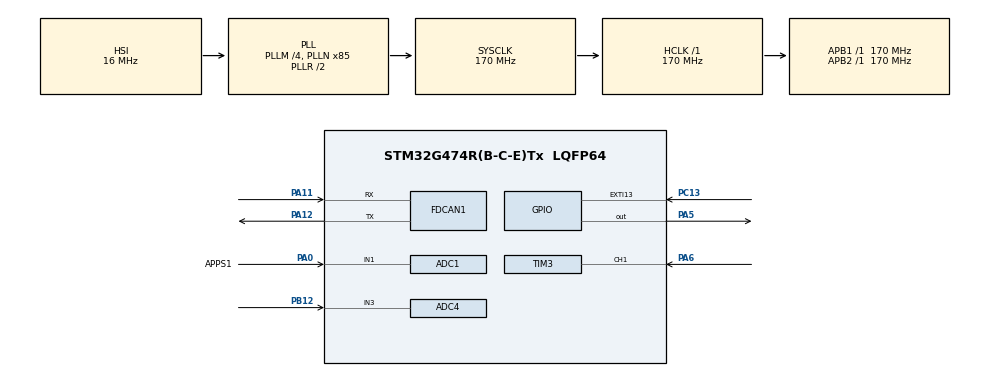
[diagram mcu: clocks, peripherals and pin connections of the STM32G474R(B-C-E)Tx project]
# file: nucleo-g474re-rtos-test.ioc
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ADC1.Channel-0\#ChannelRegularConversion=ADC_CHANNEL_1
ADC1.NbrOfConversionFlag=1
ADC1.OffsetNumber-0\#ChannelRegularConversion=ADC_OFFSET_NONE
ADC1.Rank-0\#ChannelRegularConversion=1
ADC1.SamplingTime-0\#ChannelRegularConversion=ADC_SAMPLETIME_2CYCLES_5
ADC1.master=1
ADC4.Channel-0\#ChannelRegularConversion=ADC_CHANNEL_3
ADC4.NbrOfConversionFlag=1
ADC4.OffsetNumber-0\#ChannelRegularConversion=ADC_OFFSET_NONE
ADC4.Rank-0\#ChannelRegularConversion=1
ADC4.SamplingTime-0\#ChannelRegularConversion=ADC_SAMPLETIME_2CYCLES_5
FDCAN1.AutoRetransmission=ENABLE
FDCAN1.CalculateBaudRateNominal=500000
FDCAN1.CalculateTimeBitNominal=2000
FDCAN1.CalculateTimeQuantumNominal=83.33333333333333
FDCAN1.DataPrescaler=2
FDCAN1.DataSyncJumpWidth=8
FDCAN1.DataTimeSeg1=15
FDCAN1.DataTimeSeg2=8
FDCAN1.NominalPrescaler=2
FDCAN1.NominalSyncJumpWidth=8
FDCAN1.NominalTimeSeg1=15
FDCAN1.NominalTimeSeg2=8
FREERTOS.Tasks01=defaultTask,24,128,StartDefaultTask,Default,NULL,Static,defaultTaskBuffer,defaultTaskControlBlock;ReadAPPS,40,128,StartReadAPPS,Default,NULL,Static,ReadAPPSBuffer,ReadAPPSControlBlock;ReadWSS,24,128,StartReadWSS,Default,NULL,Static,ReadWSSBuffer,ReadWSSControlBlock;ReadCAN,24,128,StartReadCAN,Default,NULL,Static,ReadCANBuffer,ReadCANControlBlock;ReadCOM,8,128,StartReadCOM,Default,NULL,Static,ReadCOMBuffer,ReadCOMControlBlock;WriteCOM,8,128,StartWriteCOM,Default,NULL,Static,WriteCOMBuffer,WriteCOMControlBlock
FREERTOS.configUSE_NEWLIB_REENTRANT=1
Mcu.Family=STM32G4
Mcu.Name=STM32G474R(B-C-E)Tx
Mcu.Package=LQFP64
NUCLEO-G474RE.BUTTON=1
NUCLEO-G474RE.LD2=true
NUCLEO-G474RE.VCP=true
NVIC.EXTI15_10_IRQn=true\:5\:0\:false\:false\:true\:true\:true\:true\:true
NVIC.FDCAN1_IT0_IRQn=true\:5\:0\:false\:false\:true\:true\:true\:true\:true
NVIC.PriorityGroup=NVIC_PRIORITYGROUP_4
NVIC.TIM3_IRQn=true\:5\:0\:false\:false\:true\:true\:true\:true\:true
NVIC.TIM6_DAC_IRQn=true\:15\:0\:false\:false\:true\:false\:false\:true\:true
NVIC.TimeBase=TIM6_DAC_IRQn
NVIC.TimeBaseIP=TIM6
PA0.GPIO_Label=APPS1
PA0.GPIO_Pd=GPIO_PULLDOWN
PA0.Mode=IN1-Single-Ended
PA0.Signal=ADC1_IN1
PA11.GPIO_PuPd=GPIO_PULLUP
PA11.GPIO_Speed=GPIO_SPEED_FREQ_VERY_HIGH
PA11.Mode=FDCAN_Activate
PA11.Signal=FDCAN1_RX
PA12.GPIO_Speed=GPIO_SPEED_FREQ_VERY_HIGH
PA12.Mode=FDCAN_Activate
PA12.Signal=FDCAN1_TX
PA13.GPIO_Label=T_SWDIO
PA13.Mode=Trace_Asynchronous_SW
PA13.Signal=SYS_JTMS-SWDIO
PA14.GPIO_Label=T_SWCLK
PA14.Mode=Trace_Asynchronous_SW
PA14.Signal=SYS_JTCK-SWCLK
PA2.Signal=LPUART1_TX
PA3.Signal=LPUART1_RX
PA5.Signal=GPIO_Output
PA6.Signal=S_TIM3_CH1
PB12.Mode=IN3-Single-Ended
PB12.Signal=ADC4_IN3
PB3.GPIO_Label=T_SWO
PB3.Mode=Trace_Asynchronous_SW
PB3.Signal=SYS_JTDO-SWO
PC13.Signal=GPXTI13
PC14-OSC32_IN.GPIO_Label=RCC_OSC32_IN
PC14-OSC32_IN.Signal=RCC_OSC32_IN
PC15-OSC32_OUT.GPIO_Label=RCC_OSC32_OUT
PC15-OSC32_OUT.Signal=RCC_OSC32_OUT
PF0-OSC_IN.GPIO_Label=RCC_OSC_IN
PF0-OSC_IN.Mode=HSE-External-Oscillator
PF0-OSC_IN.Signal=RCC_OSC_IN
PF1-OSC_OUT.GPIO_Label=RCC_OSC_OUT
PF1-OSC_OUT.Mode=HSE-External-Oscillator
PF1-OSC_OUT.Signal=RCC_OSC_OUT
ProjectManager.HeapSize=0x200
ProjectManager.StackSize=0x400
ProjectManager.TargetToolchain=STM32CubeIDE
RCC.ADC12Freq_Value=170000000
RCC.ADC345Freq_Value=170000000
RCC.AHBFreq_Value=170000000
RCC.APB1Freq_Value=170000000
RCC.APB1TimFreq_Value=170000000
RCC.APB2Freq_Value=170000000
RCC.APB2TimFreq_Value=170000000
RCC.CortexFreq_Value=170000000
RCC.EXTERNAL_CLOCK_VALUE=12288000
RCC.FDCANCLockSelection=RCC_FDCANCLKSOURCE_HSE
RCC.HCLKFreq_Value=170000000
RCC.HSE_VALUE=24000000
RCC.HSI48_VALUE=48000000
RCC.HSI_VALUE=16000000
RCC.LSE_VALUE=32768
RCC.PLLM=RCC_PLLM_DIV4
RCC.PLLN=85
RCC.RTCClockSelection=RCC_RTCCLKSOURCE_LSE
RCC.SYSCLKFreq_VALUE=170000000
RCC.SYSCLKSource=RCC_SYSCLKSOURCE_PLLCLK
RCC.USBFreq_Value=170000000
RCC.VCOOutputFreq_Value=340000000
SH.S_TIM3_CH1.0=TIM3_CH1,Input_Capture1_from_TI1
TIM3.Channel-Input_Capture1_from_TI1=TIM_CHANNEL_1
TIM3.ICFilter_CH1=15
TIM3.Prescaler=17
VP_FREERTOS_VS_CMSIS_V2.Mode=CMSIS_V2
VP_NUCLEO-G474RE_VS_BSP_COMMON.Mode=COMMON
VP_SYS_VS_DBSignals.Mode=DisableDeadBatterySignals
VP_SYS_VS_tim6.Mode=TIM6
board=NUCLEO-G474RE

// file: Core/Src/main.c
/* USER CODE BEGIN Header */
/**
 ******************************************************************************
 * @file           : main.c
 * @brief          : Main program body
 ******************************************************************************
 * @attention
 *
 * Copyright (c) 2025 STMicroelectronics.
 * All rights reserved.
 *
 * This software is licensed under terms that can be found in the LICENSE file
 * in the root directory of this software component.
 * If no LICENSE file comes with this software, it is provided AS-IS.
 *
 ******************************************************************************
 */
/* USER CODE END Header */
#include "main.h"
#include "cmsis_os.h"

/* USER CODE BEGIN Includes */
#include <inttypes.h>
#include <string.h>
/* USER CODE END Includes */

typedef StaticTask_t osStaticThreadDef_t;

COM_InitTypeDef BspCOMInit;
ADC_HandleTypeDef hadc1;
ADC_HandleTypeDef hadc4;

FDCAN_HandleTypeDef hfdcan1;

TIM_HandleTypeDef htim3;

/* Definitions for defaultTask */
osThreadId_t defaultTaskHandle;
uint32_t defaultTaskBuffer[ 128 ];
osStaticThreadDef_t defaultTaskControlBlock;
const osThreadAttr_t defaultTask_attributes = {
  .name = "defaultTask",
  .stack_mem = &defaultTaskBuffer[0],
  .stack_size = sizeof(defaultTaskBuffer),
  .cb_mem = &defaultTaskControlBlock,
  .cb_size = sizeof(defaultTaskControlBlock),
  .priority = (osPriority_t) osPriorityNormal,
};
/* Definitions for ReadAPPS */
osThreadId_t ReadAPPSHandle;
uint32_t ReadAPPSBuffer[ 128 ];
osStaticThreadDef_t ReadAPPSControlBlock;
const osThreadAttr_t ReadAPPS_attributes = {
  .name = "ReadAPPS",
  .stack_mem = &ReadAPPSBuffer[0],
  .stack_size = sizeof(ReadAPPSBuffer),
  .cb_mem = &ReadAPPSControlBlock,
  .cb_size = sizeof(ReadAPPSControlBlock),
  .priority = (osPriority_t) osPriorityHigh,
};
/* Definitions for ReadWSS */
osThreadId_t ReadWSSHandle;
uint32_t ReadWSSBuffer[ 128 ];
osStaticThreadDef_t ReadWSSControlBlock;
const osThreadAttr_t ReadWSS_attributes = {
  .name = "ReadWSS",
  .stack_mem = &ReadWSSBuffer[0],
  .stack_size = sizeof(ReadWSSBuffer),
  .cb_mem = &ReadWSSControlBlock,
  .cb_size = sizeof(ReadWSSControlBlock),
  .priority = (osPriority_t) osPriorityNormal,
};
/* Definitions for ReadCAN */
osThreadId_t ReadCANHandle;
uint32_t ReadCANBuffer[ 128 ];
osStaticThreadDef_t ReadCANControlBlock;
const osThreadAttr_t ReadCAN_attributes = {
  .name = "ReadCAN",
  .stack_mem = &ReadCANBuffer[0],
  .stack_size = sizeof(ReadCANBuffer),
  .cb_mem = &ReadCANControlBlock,
  .cb_size = sizeof(ReadCANControlBlock),
  .priority = (osPriority_t) osPriorityNormal,
};
/* Definitions for ReadCOM */
osThreadId_t ReadCOMHandle;
uint32_t ReadCOMBuffer[ 128 ];
osStaticThreadDef_t ReadCOMControlBlock;
const osThreadAttr_t ReadCOM_attributes = {
  .name = "ReadCOM",
  .stack_mem = &ReadCOMBuffer[0],
  .stack_size = sizeof(ReadCOMBuffer),
  .cb_mem = &ReadCOMControlBlock,
  .cb_size = sizeof(ReadCOMControlBlock),
  .priority = (osPriority_t) osPriorityLow,
};
/* Definitions for WriteCOM */
osThreadId_t WriteCOMHandle;
uint32_t WriteCOMBuffer[ 128 ];
osStaticThreadDef_t WriteCOMControlBlock;
const osThreadAttr_t WriteCOM_attributes = {
  .name = "WriteCOM",
  .stack_mem = &WriteCOMBuffer[0],
  .stack_size = sizeof(WriteCOMBuffer),
  .cb_mem = &WriteCOMControlBlock,
  .cb_size = sizeof(WriteCOMControlBlock),
  .priority = (osPriority_t) osPriorityLow,
};
/* USER CODE BEGIN PV */
__IO uint32_t BspButtonState = BUTTON_RELEASED;
uint32_t printCANData = 0;
uint32_t printSASAngle = 0;
/* USER CODE END PV */

void SystemClock_Config(void);
static void MX_GPIO_Init(void);
static void MX_ADC1_Init(void);
static void MX_ADC4_Init(void);
static void MX_FDCAN1_Init(void);
static void MX_TIM3_Init(void);
void StartDefaultTask(void *argument);
void StartReadAPPS(void *argument);
void StartReadWSS(void *argument);
void StartReadCAN(void *argument);
void StartReadCOM(void *argument);
void StartWriteCOM(void *argument);

/* USER CODE BEGIN 0 */

FDCAN_RxHeaderTypeDef   RxHeader;
uint8_t               	RxData[8];
int16_t					steeringAngle;

// FDCAN2 Callback
void HAL_FDCAN_RxFifo0Callback(FDCAN_HandleTypeDef *hfdcan, uint32_t RxFifo0ITs)
{
	if ((RxFifo0ITs & FDCAN_IT_RX_FIFO0_NEW_MESSAGE) != RESET) {
		/* Retreive Rx messages from RX FIFO0 */
		if (HAL_FDCAN_GetRxMessage(hfdcan, FDCAN_RX_FIFO0, &RxHeader, RxData) != HAL_OK) {
			Error_Handler();
		}
		if (HAL_FDCAN_ActivateNotification(hfdcan, FDCAN_IT_RX_FIFO0_NEW_MESSAGE, 0) != HAL_OK) {
			Error_Handler();
		}
		if (printCANData) {
			printf("CAN ID: %" PRIu32 ", Data: ", RxHeader.Identifier);
			for (int i = 0; i < 12; i++) {
				printf("%02x ", RxData[i]);
			}
			printf("\n");
		}
		if (printSASAngle) {
			steeringAngle = ((uint16_t) RxData[1] << 8) | (uint16_t) RxData[0];
			printf("HI:8191,LO:-8191,SAS:%d\n", steeringAngle);
		}
	}
}

/* USER CODE END 0 */

int main(void)
{

  /* MCU Configuration--------------------------------------------------------*/

  /* Reset of all peripherals, Initializes the Flash interface and the Systick. */
  HAL_Init();

  /* Configure the system clock */
  SystemClock_Config();

  /* Initialize all configured peripherals */
  MX_GPIO_Init();
  MX_ADC1_Init();
  MX_ADC4_Init();
  MX_FDCAN1_Init();
  MX_TIM3_Init();
  /* USER CODE BEGIN 2 */
	// Start FDCAN1
	if (HAL_FDCAN_Start(&hfdcan1) != HAL_OK) {
		Error_Handler();
	}
	// Activate the notification for new data in FIFO0 for FDCAN1
	if (HAL_FDCAN_ActivateNotification(&hfdcan1, FDCAN_IT_RX_FIFO0_NEW_MESSAGE, 0) != HAL_OK) {
		Error_Handler();
	}

	// Start TIM2 Input Capture in interrupt mode for WSS1
	HAL_TIM_IC_Start_IT(&htim3, TIM_CHANNEL_1);
  /* USER CODE END 2 */

  /* Init scheduler */
  osKernelInitialize();

  /* Create the thread(s) */
  /* creation of defaultTask */
  defaultTaskHandle = osThreadNew(StartDefaultTask, NULL, &defaultTask_attributes);

  /* creation of ReadAPPS */
  ReadAPPSHandle = osThreadNew(StartReadAPPS, NULL, &ReadAPPS_attributes);

  /* creation of ReadWSS */
  ReadWSSHandle = osThreadNew(StartReadWSS, NULL, &ReadWSS_attributes);

  /* creation of ReadCAN */
  ReadCANHandle = osThreadNew(StartReadCAN, NULL, &ReadCAN_attributes);

  /* creation of ReadCOM */
  ReadCOMHandle = osThreadNew(StartReadCOM, NULL, &ReadCOM_attributes);

  /* creation of WriteCOM */
  WriteCOMHandle = osThreadNew(StartWriteCOM, NULL, &WriteCOM_attributes);

  /* Initialize led */
  BSP_LED_Init(LED_GREEN);

  /* Initialize USER push-button, will be used to trigger an interrupt each time it's pressed.*/
  BSP_PB_Init(BUTTON_USER, BUTTON_MODE_EXTI);

  /* Initialize COM1 port (115200, 8 bits (7-bit data + 1 stop bit), no parity */
  BspCOMInit.BaudRate   = 115200;
  BspCOMInit.WordLength = COM_WORDLENGTH_8B;
  BspCOMInit.StopBits   = COM_STOPBITS_1;
  BspCOMInit.Parity     = COM_PARITY_NONE;
  BspCOMInit.HwFlowCtl  = COM_HWCONTROL_NONE;
  if (BSP_COM_Init(COM1, &BspCOMInit) != BSP_ERROR_NONE)
  {
    Error_Handler();
  }

  /* Start scheduler */
  osKernelStart();

  /* We should never get here as control is now taken by the scheduler */

  /* Infinite loop */
	while (1)
	{

	}
}

void SystemClock_Config(void)
{
  RCC_OscInitTypeDef RCC_OscInitStruct = {0};
  RCC_ClkInitTypeDef RCC_ClkInitStruct = {0};

  /** Configure the main internal regulator output voltage
  */
  HAL_PWREx_ControlVoltageScaling(PWR_REGULATOR_VOLTAGE_SCALE1_BOOST);

  /** Initializes the RCC Oscillators according to the specified parameters
  * in the RCC_OscInitTypeDef structure.
  */
  RCC_OscInitStruct.OscillatorType = RCC_OSCILLATORTYPE_HSI|RCC_OSCILLATORTYPE_HSE;
  RCC_OscInitStruct.HSEState = RCC_HSE_ON;
  RCC_OscInitStruct.HSIState = RCC_HSI_ON;
  RCC_OscInitStruct.HSICalibrationValue = RCC_HSICALIBRATION_DEFAULT;
  RCC_OscInitStruct.PLL.PLLState = RCC_PLL_ON;
  RCC_OscInitStruct.PLL.PLLSource = RCC_PLLSOURCE_HSI;
  RCC_OscInitStruct.PLL.PLLM = RCC_PLLM_DIV4;
  RCC_OscInitStruct.PLL.PLLN = 85;
  RCC_OscInitStruct.PLL.PLLP = RCC_PLLP_DIV2;
  RCC_OscInitStruct.PLL.PLLQ = RCC_PLLQ_DIV2;
  RCC_OscInitStruct.PLL.PLLR = RCC_PLLR_DIV2;
  if (HAL_RCC_OscConfig(&RCC_OscInitStruct) != HAL_OK)
  {
    Error_Handler();
  }

  /** Initializes the CPU, AHB and APB buses clocks
  */
  RCC_ClkInitStruct.ClockType = RCC_CLOCKTYPE_HCLK|RCC_CLOCKTYPE_SYSCLK
                              |RCC_CLOCKTYPE_PCLK1|RCC_CLOCKTYPE_PCLK2;
  RCC_ClkInitStruct.SYSCLKSource = RCC_SYSCLKSOURCE_PLLCLK;
  RCC_ClkInitStruct.AHBCLKDivider = RCC_SYSCLK_DIV1;
  RCC_ClkInitStruct.APB1CLKDivider = RCC_HCLK_DIV1;
  RCC_ClkInitStruct.APB2CLKDivider = RCC_HCLK_DIV1;

  if (HAL_RCC_ClockConfig(&RCC_ClkInitStruct, FLASH_LATENCY_4) != HAL_OK)
  {
    Error_Handler();
  }
}

static void MX_ADC1_Init(void)
{

  ADC_MultiModeTypeDef multimode = {0};
  ADC_ChannelConfTypeDef sConfig = {0};

  /** Common config
  */
  hadc1.Instance = ADC1;
  hadc1.Init.ClockPrescaler = ADC_CLOCK_SYNC_PCLK_DIV4;
  hadc1.Init.Resolution = ADC_RESOLUTION_12B;
  hadc1.Init.DataAlign = ADC_DATAALIGN_RIGHT;
  hadc1.Init.GainCompensation = 0;
  hadc1.Init.ScanConvMode = ADC_SCAN_DISABLE;
  hadc1.Init.EOCSelection = ADC_EOC_SINGLE_CONV;
  hadc1.Init.LowPowerAutoWait = DISABLE;
  hadc1.Init.ContinuousConvMode = DISABLE;
  hadc1.Init.NbrOfConversion = 1;
  hadc1.Init.DiscontinuousConvMode = DISABLE;
  hadc1.Init.ExternalTrigConv = ADC_SOFTWARE_START;
  hadc1.Init.ExternalTrigConvEdge = ADC_EXTERNALTRIGCONVEDGE_NONE;
  hadc1.Init.DMAContinuousRequests = DISABLE;
  hadc1.Init.Overrun = ADC_OVR_DATA_PRESERVED;
  hadc1.Init.OversamplingMode = DISABLE;
  if (HAL_ADC_Init(&hadc1) != HAL_OK)
  {
    Error_Handler();
  }

  /** Configure the ADC multi-mode
  */
  multimode.Mode = ADC_MODE_INDEPENDENT;
  if (HAL_ADCEx_MultiModeConfigChannel(&hadc1, &multimode) != HAL_OK)
  {
    Error_Handler();
  }

  /** Configure Regular Channel
  */
  sConfig.Channel = ADC_CHANNEL_1;
  sConfig.Rank = ADC_REGULAR_RANK_1;
  sConfig.SamplingTime = ADC_SAMPLETIME_2CYCLES_5;
  sConfig.SingleDiff = ADC_SINGLE_ENDED;
  sConfig.OffsetNumber = ADC_OFFSET_NONE;
  sConfig.Offset = 0;
  if (HAL_ADC_ConfigChannel(&hadc1, &sConfig) != HAL_OK)
  {
    Error_Handler();
  }

}

static void MX_ADC4_Init(void)
{

  ADC_ChannelConfTypeDef sConfig = {0};

  /** Common config
  */
  hadc4.Instance = ADC4;
  hadc4.Init.ClockPrescaler = ADC_CLOCK_SYNC_PCLK_DIV4;
  hadc4.Init.Resolution = ADC_RESOLUTION_12B;
  hadc4.Init.DataAlign = ADC_DATAALIGN_RIGHT;
  hadc4.Init.GainCompensation = 0;
  hadc4.Init.ScanConvMode = ADC_SCAN_DISABLE;
  hadc4.Init.EOCSelection = ADC_EOC_SINGLE_CONV;
  hadc4.Init.LowPowerAutoWait = DISABLE;
  hadc4.Init.ContinuousConvMode = DISABLE;
  hadc4.Init.NbrOfConversion = 1;
  hadc4.Init.DiscontinuousConvMode = DISABLE;
  hadc4.Init.ExternalTrigConv = ADC_SOFTWARE_START;
  hadc4.Init.ExternalTrigConvEdge = ADC_EXTERNALTRIGCONVEDGE_NONE;
  hadc4.Init.DMAContinuousRequests = DISABLE;
  hadc4.Init.Overrun = ADC_OVR_DATA_PRESERVED;
  hadc4.Init.OversamplingMode = DISABLE;
  if (HAL_ADC_Init(&hadc4) != HAL_OK)
  {
    Error_Handler();
  }

  /** Configure Regular Channel
  */
  sConfig.Channel = ADC_CHANNEL_3;
  sConfig.Rank = ADC_REGULAR_RANK_1;
  sConfig.SamplingTime = ADC_SAMPLETIME_2CYCLES_5;
  sConfig.SingleDiff = ADC_SINGLE_ENDED;
  sConfig.OffsetNumber = ADC_OFFSET_NONE;
  sConfig.Offset = 0;
  if (HAL_ADC_ConfigChannel(&hadc4, &sConfig) != HAL_OK)
  {
    Error_Handler();
  }

}

static void MX_FDCAN1_Init(void)
{

  hfdcan1.Instance = FDCAN1;
  hfdcan1.Init.ClockDivider = FDCAN_CLOCK_DIV1;
  hfdcan1.Init.FrameFormat = FDCAN_FRAME_CLASSIC;
  hfdcan1.Init.Mode = FDCAN_MODE_NORMAL;
  hfdcan1.Init.AutoRetransmission = ENABLE;
  hfdcan1.Init.TransmitPause = DISABLE;
  hfdcan1.Init.ProtocolException = DISABLE;
  hfdcan1.Init.NominalPrescaler = 2;
  hfdcan1.Init.NominalSyncJumpWidth = 8;
  hfdcan1.Init.NominalTimeSeg1 = 15;
  hfdcan1.Init.NominalTimeSeg2 = 8;
  hfdcan1.Init.DataPrescaler = 2;
  hfdcan1.Init.DataSyncJumpWidth = 8;
  hfdcan1.Init.DataTimeSeg1 = 15;
  hfdcan1.Init.DataTimeSeg2 = 8;
  hfdcan1.Init.StdFiltersNbr = 0;
  hfdcan1.Init.ExtFiltersNbr = 0;
  hfdcan1.Init.TxFifoQueueMode = FDCAN_TX_FIFO_OPERATION;
  if (HAL_FDCAN_Init(&hfdcan1) != HAL_OK)
  {
    Error_Handler();
  }

}

static void MX_TIM3_Init(void)
{

  TIM_MasterConfigTypeDef sMasterConfig = {0};
  TIM_IC_InitTypeDef sConfigIC = {0};

  htim3.Instance = TIM3;
  htim3.Init.Prescaler = 17;
  htim3.Init.CounterMode = TIM_COUNTERMODE_UP;
  htim3.Init.Period = 65535;
  htim3.Init.ClockDivision = TIM_CLOCKDIVISION_DIV1;
  htim3.Init.AutoReloadPreload = TIM_AUTORELOAD_PRELOAD_DISABLE;
  if (HAL_TIM_IC_Init(&htim3) != HAL_OK)
  {
    Error_Handler();
  }
  sMasterConfig.MasterOutputTrigger = TIM_TRGO_RESET;
  sMasterConfig.MasterSlaveMode = TIM_MASTERSLAVEMODE_DISABLE;
  if (HAL_TIMEx_MasterConfigSynchronization(&htim3, &sMasterConfig) != HAL_OK)
  {
    Error_Handler();
  }
  sConfigIC.ICPolarity = TIM_INPUTCHANNELPOLARITY_RISING;
  sConfigIC.ICSelection = TIM_ICSELECTION_DIRECTTI;
  sConfigIC.ICPrescaler = TIM_ICPSC_DIV1;
  sConfigIC.ICFilter = 15;
  if (HAL_TIM_IC_ConfigChannel(&htim3, &sConfigIC, TIM_CHANNEL_1) != HAL_OK)
  {
    Error_Handler();
  }

}

static void MX_GPIO_Init(void)
{

  /* GPIO Ports Clock Enable */
  __HAL_RCC_GPIOC_CLK_ENABLE();
  __HAL_RCC_GPIOF_CLK_ENABLE();
  __HAL_RCC_GPIOA_CLK_ENABLE();
  __HAL_RCC_GPIOB_CLK_ENABLE();

}

/* USER CODE BEGIN 4 */
FDCAN_TxHeaderTypeDef	TxHeader;
uint8_t 				TxData[2];

void ResetSASCalibration()
{
	TxHeader.Identifier = 0x7C0;		// LWS_Config
	TxHeader.IdType = FDCAN_STANDARD_ID;
	TxHeader.TxFrameType = FDCAN_DATA_FRAME;
	TxHeader.DataLength = FDCAN_DLC_BYTES_2;
	TxHeader.ErrorStateIndicator = FDCAN_ESI_ACTIVE;
	TxHeader.BitRateSwitch = FDCAN_BRS_OFF;
	TxHeader.FDFormat = FDCAN_CLASSIC_CAN;
	TxHeader.TxEventFifoControl = FDCAN_NO_TX_EVENTS;
	TxHeader.MessageMarker = 0;

	TxData[0] = 0x05;		// Command: Reset calibration
	TxData[1] = 0x00;
	if (HAL_FDCAN_AddMessageToTxFifoQ(&hfdcan1, &TxHeader, TxData) != HAL_OK) {
		Error_Handler();
	}
}

void ResetSASAngle()
{
	TxHeader.Identifier = 0x7C0;		// LWS_Config
	TxHeader.IdType = FDCAN_STANDARD_ID;
	TxHeader.TxFrameType = FDCAN_DATA_FRAME;
	TxHeader.DataLength = FDCAN_DLC_BYTES_2;
	TxHeader.ErrorStateIndicator = FDCAN_ESI_ACTIVE;
	TxHeader.BitRateSwitch = FDCAN_BRS_OFF;
	TxHeader.FDFormat = FDCAN_CLASSIC_CAN;
	TxHeader.TxEventFifoControl = FDCAN_NO_TX_EVENTS;
	TxHeader.MessageMarker = 0;

	TxData[0] = 0x03;		// Command: Set LWS_Angle = 0
	TxData[1] = 0x00;
	if (HAL_FDCAN_AddMessageToTxFifoQ(&hfdcan1, &TxHeader, TxData) != HAL_OK) {
		Error_Handler();
	}
}

void BSP_PB_Callback(Button_TypeDef Button)
{
	if (Button == BUTTON_USER) {
		if (BspButtonState == BUTTON_RELEASED) {
			printf("Attempting to reset SAS...\n");
			BSP_LED_Toggle(LED_GREEN);
			// Configure TX Header for FDCAN1 BOSCH LWS_Config
			TxHeader.Identifier = 0x7C0;		// LWS_Config
			TxHeader.IdType = FDCAN_STANDARD_ID;
			TxHeader.TxFrameType = FDCAN_DATA_FRAME;
			TxHeader.DataLength = FDCAN_DLC_BYTES_2;
			TxHeader.ErrorStateIndicator = FDCAN_ESI_ACTIVE;
			TxHeader.BitRateSwitch = FDCAN_BRS_OFF;
			TxHeader.FDFormat = FDCAN_CLASSIC_CAN;
			TxHeader.TxEventFifoControl = FDCAN_NO_TX_EVENTS;
			TxHeader.MessageMarker = 0;

			TxData[0] = 0x05;		// Command: Reset calibration
			TxData[1] = 0x00;
			if (HAL_FDCAN_AddMessageToTxFifoQ(&hfdcan1, &TxHeader, TxData) != HAL_OK) {
				Error_Handler();
			}

			TxData[0] = 0x03;		// Command: Set LWS_Angle = 0
			TxData[1] = 0x00;
			if (HAL_FDCAN_AddMessageToTxFifoQ(&hfdcan1, &TxHeader, TxData) != HAL_OK) {
				Error_Handler();
			}

			BspButtonState = BUTTON_PRESSED;
		} else {
			BspButtonState = BUTTON_RELEASED;
		}
	}
}
volatile uint32_t ic_val1 = 0;
volatile uint32_t ic_val2 = 0;
volatile uint8_t  is_first_captured = 0;
volatile float    frequency = 0;

void HAL_TIM_IC_CaptureCallback(TIM_HandleTypeDef *htim)
{
    if (htim->Channel == HAL_TIM_ACTIVE_CHANNEL_1) {
        uint32_t capture = HAL_TIM_ReadCapturedValue(htim, TIM_CHANNEL_1);
        uint32_t arr = htim->Instance->ARR;
        uint32_t psc = htim->Instance->PSC;

        if (is_first_captured == 0) {
        	ic_val1 = capture;
        	is_first_captured = 1;
        } else {
        	ic_val2 = capture;

            uint32_t diff;
            if (ic_val2 >= ic_val1) {
                diff = ic_val2 - ic_val1;
            }
            else
                diff = (arr + 1 - ic_val1) + ic_val2; // handle overflow

            float tick_freq = (float) HAL_RCC_GetPCLK1Freq() / (psc + 1);
            float frequency = tick_freq / diff;

            is_first_captured = 0; // ready for next period
            printf("frequency: %.2f\n", frequency);
        }
    }
}
/* USER CODE END 4 */

void StartDefaultTask(void *argument)
{
  /* USER CODE BEGIN 5 */
	printf("STM32 Started!\n");
	/* Infinite loop */
	for(;;) {
		BSP_LED_Toggle(LED_GREEN);
		osDelay(1000);
	}
  /* USER CODE END 5 */
}

void StartReadAPPS(void *argument)
{
  /* USER CODE BEGIN StartReadAPPS */
	uint32_t apps1Pos, apps2Pos, appsAvgPos;
	HAL_ADCEx_Calibration_Start(&hadc1, ADC_SINGLE_ENDED);
	/* Infinite loop */
	for(;;) {
		HAL_ADC_Start(&hadc1);
		HAL_ADC_PollForConversion(&hadc1, 1);
		apps1Pos = HAL_ADC_GetValue(&hadc1);
		//printf("HI:4095,LO:0,APPS1:%" PRIu32 "\n", apps1Pos);

		osDelay(1);
	}
  /* USER CODE END StartReadAPPS */
}

void StartReadWSS(void *argument)
{
	for(;;)
	{
		osDelay(1);
	}
}

void StartReadCAN(void *argument)
{
	for(;;)
	{
		osDelay(1);
	}
}

void StartReadCOM(void *argument)
{
  /* USER CODE BEGIN StartReadCOM */
	uint8_t rxByte;
	uint8_t buffer[64];
	uint8_t idx = 0;
	/* Infinite loop */
	for(;;) {
		if (printCANData) {
			printf("CAN ID: %" PRIu32 ", Data: ", RxHeader.Identifier);
			for (int i = 0; i < 12; i++) {
				printf("%02x ", RxData[i]);
			}
			printf("\n");
		}
		if (printSASAngle) {
			steeringAngle = ((uint16_t) RxData[1] << 8) | (uint16_t) RxData[0];
			printf("HI:8191,LO:-8191,SAS:%d\n", steeringAngle);
		}

		if (HAL_UART_Receive(&hcom_uart[COM1], &rxByte, 1, HAL_MAX_DELAY) == HAL_OK) {
			if (rxByte == '\n' || rxByte == '\r') {
				buffer[idx] = '\0';		// terminate string
				printf("$ %s\n", buffer);

				if (!strcmp(buffer, "sas calibrate")) {
					ResetSASCalibration();
					printf("SAS reset calibration command sent.\n");
				} else if (!strcmp(buffer, "sas zero")) {
					ResetSASAngle();
					printf("SAS reset angle command sent.\n");
				} else if (!strcmp(buffer, "sas angle")) {
					if (printSASAngle) {
						printSASAngle = 0;
						printf("Hiding SAS Angle.\n");
					} else {
						printSASAngle = 1;
						printf("Showing SAS Angle.\n");
					}
				} else if (!strcmp(buffer, "can data")) {
					if (printCANData) {
						printCANData = 0;
						printf("Hiding CAN Data.\n");
					} else {
						printCANData = 1;
						printf("Showing CAN Data.\n");
					}
				} else {
					printf("Unknown command: %s\r\n", buffer);
				}

				idx = 0;
			} else if (idx < sizeof(buffer) - 1) {
				buffer[idx++] = rxByte;
			}
		}
	}
  /* USER CODE END StartReadCOM */
}

void StartWriteCOM(void *argument)
{
  /* USER CODE BEGIN StartWriteCOM */
	uint8_t* buf;
	/* Infinite loop */
	for(;;)
	{
//		if (osMessageQueueGet(COMQueue, &byte, NULL, osWaitForever) == osOK) {
//			printf("Got byte: %c\r\n", byte);
//		}
	}
  /* USER CODE END StartWriteCOM */
}

void HAL_TIM_PeriodElapsedCallback(TIM_HandleTypeDef *htim)
{
  if (htim->Instance == TIM6)
  {
    HAL_IncTick();
  }
}

void Error_Handler(void)
{
	__disable_irq();
	while (1)
	{
	}
}
